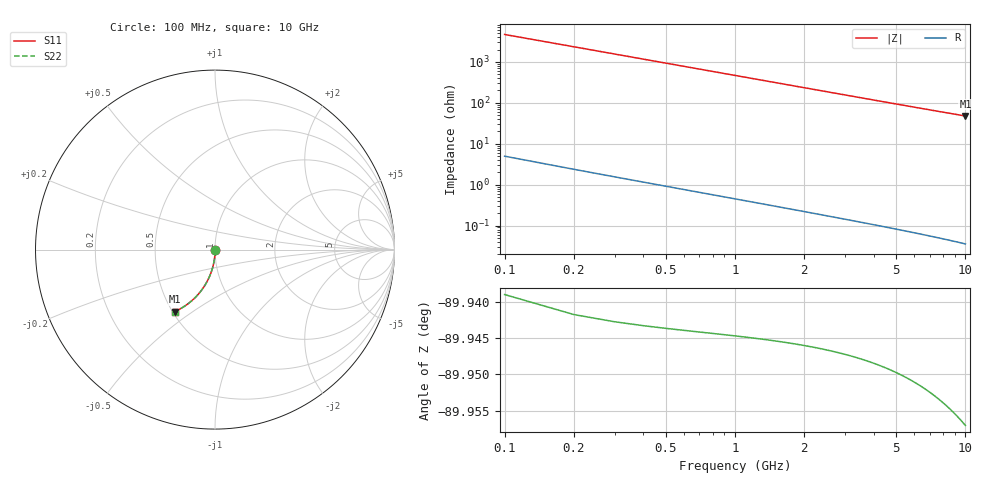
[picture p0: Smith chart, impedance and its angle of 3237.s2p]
# Hz S RI R 50.00
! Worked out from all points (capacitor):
!   100 points, 100 MHz to 10 GHz, reference 50 ohm
!   read as one part in shunt: C = 342 fF near 100 MHz
!   lowest |Z| = 47.5 ohm at 10 GHz (marker M1)
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1e8  0.000431 -0.00462  0.9995 -0.00611  0.9995 -0.00611  0.000431 -0.00462
2e8  0.000344 -0.00924  0.9994 -0.0122  0.9994 -0.0122  0.000344 -0.00924
3e8  0.0002 -0.0139  0.9992 -0.0183  0.9992 -0.0183  0.0002 -0.0139
4e8  -1.04e-06 -0.0185  0.999 -0.0245  0.999 -0.0245  -1.04e-06 -0.0185
5e8  -0.000259 -0.0231  0.9988 -0.0306  0.9988 -0.0306  -0.000259 -0.0231
6e8  -0.000573 -0.0277  0.9984 -0.0367  0.9984 -0.0367  -0.000573 -0.0277
7e8  -0.000944 -0.0323  0.998 -0.0428  0.998 -0.0428  -0.000944 -0.0323
8e8  -0.00137 -0.0369  0.9976 -0.0488  0.9976 -0.0488  -0.00137 -0.0369
9e8  -0.00185 -0.0415  0.9971 -0.0549  0.9971 -0.0549  -0.00185 -0.0415
1.1e9  -0.00299 -0.0507  0.9959 -0.0671  0.9959 -0.0671  -0.00299 -0.0507
1.4e9  -0.0051 -0.0643  0.9937 -0.0852  0.9937 -0.0852  -0.0051 -0.0643
1.8e9  -0.00869 -0.0824  0.99 -0.1093  0.99 -0.1093  -0.00869 -0.0824
2.1e9  -0.012 -0.0957  0.9866 -0.1271  0.9866 -0.1271  -0.012 -0.0957
2.5e9  -0.017 -0.1133  0.9813 -0.1507  0.9813 -0.1507  -0.017 -0.1133
2.9e9  -0.0229 -0.1306  0.9751 -0.174  0.9751 -0.174  -0.0229 -0.1306
3.4e9  -0.0314 -0.1516  0.9663 -0.2025  0.9663 -0.2025  -0.0314 -0.1516
4.2e9  -0.0475 -0.1839  0.9495 -0.2468  0.9495 -0.2468  -0.0475 -0.1839
5.1e9  -0.0688 -0.2177  0.9273 -0.2941  0.9273 -0.2941  -0.0688 -0.2177
5.9e9  -0.0903 -0.2453  0.9048 -0.3338  0.9048 -0.3338  -0.0903 -0.2453
6.7e9  -0.1138 -0.2704  0.8801 -0.3711  0.8801 -0.3711  -0.1138 -0.2704
8.4e9  -0.1689 -0.3148  0.8219 -0.4415  0.8219 -0.4415  -0.1689 -0.3148
1e10  -0.2248 -0.3454  0.7625 -0.4967  0.7625 -0.4967  -0.2248 -0.3454
